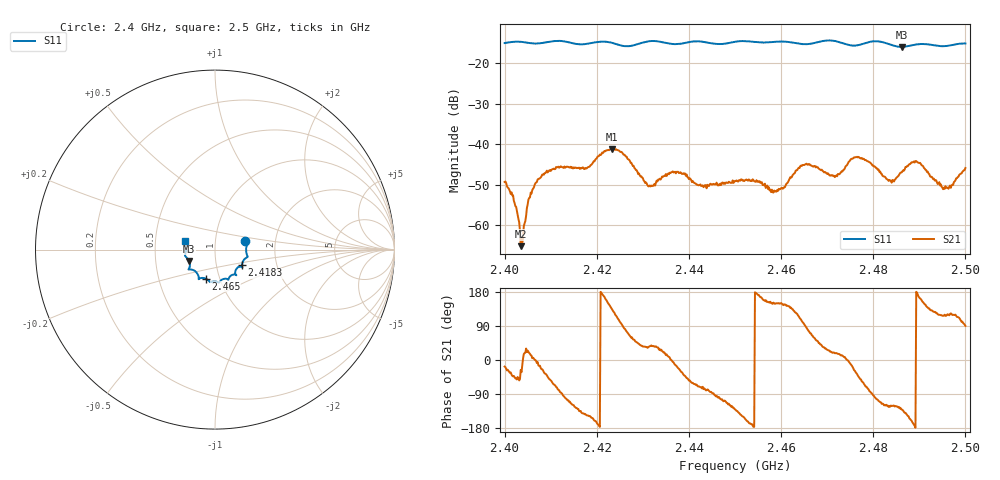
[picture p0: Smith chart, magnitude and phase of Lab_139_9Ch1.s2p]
# Hz S RI R 50
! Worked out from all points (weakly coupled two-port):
!   601 points, 2.4 GHz to 2.5 GHz, reference 50 ohm
!   highest |S21| = -41.17 dB at 2.4233 GHz (marker M1); lowest = -65.1 dB at 2.4035 GHz (marker M2)
!   lowest |S11| = -16.1 dB at 2.4862 GHz (marker M3), VSWR 1.37, Z = 37.2 - j4.82 ohm
!   |S11| at or under -10 dB: start of sweep to end of sweep
!   S12 and S22 are empty: the file has one direction only
!   S11 on the Smith chart (normalised r, x): 2.4 GHz: 1.40, +0.14; 2.4183 GHz: 1.33, -0.24; 2.465 GHz: 0.86, -0.28; 2.5 GHz: 0.71, +0.07
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2.4e9  0.1688 0.0472  0.00327 -0.00102  0 0  0 0
2.402e9  0.1775 0.0372  0.00149 -0.00135  0 0  0 0
2.4035e9  0.1789 0.0306  0.000499 -0.000244  0 0  0 0
2.404e9  0.1782 0.0273  0.000706 5e-05  0 0  0 0
2.405667e9  0.1742 0.0122  0.00247 0.000565  0 0  0 0
2.407667e9  0.1738 -0.0116  0.00368 -0.000994  0 0  0 0
2.416667e9  0.1548 -0.0681  -0.00377 -0.00333  0 0  0 0
2.418333e9  0.1501 -0.0869  -0.00448 -0.00276  0 0  0 0
2.423333e9  0.1478 -0.0961  -0.00596 0.00639  0 0  0 0
2.431e9  0.1168 -0.1412  0.00265 0.00166  0 0  0 0
2.433333e9  0.1174 -0.1409  0.00308 0.00198  0 0  0 0
2.45e9  0.0262 -0.1799  -0.00228 -0.0027  0 0  0 0
2.458667e9  -0.0215 -0.1802  -0.00223 0.00138  0 0  0 0
2.465e9  -0.0525 -0.1615  -0.000421 0.00551  0 0  0 0
2.466667e9  -0.0711 -0.1576  0.00226 0.00491  0 0  0 0
2.471667e9  -0.0906 -0.1624  0.00374 0.0012  0 0  0 0
2.476667e9  -0.1176 -0.1157  0.00516 -0.00454  0 0  0 0
2.483333e9  -0.1412 -0.0965  -0.00197 -0.00293  0 0  0 0
2.486167e9  -0.1437 -0.0633  -0.00293 -0.00339  0 0  0 0
2.489667e9  -0.165 -0.0382  -0.0059 0.000775  0 0  0 0
2.495667e9  -0.1605 0.0118  -0.00136 0.00271  0 0  0 0
2.5e9  -0.1664 0.047  -4.44e-06 0.00508  0 0  0 0
